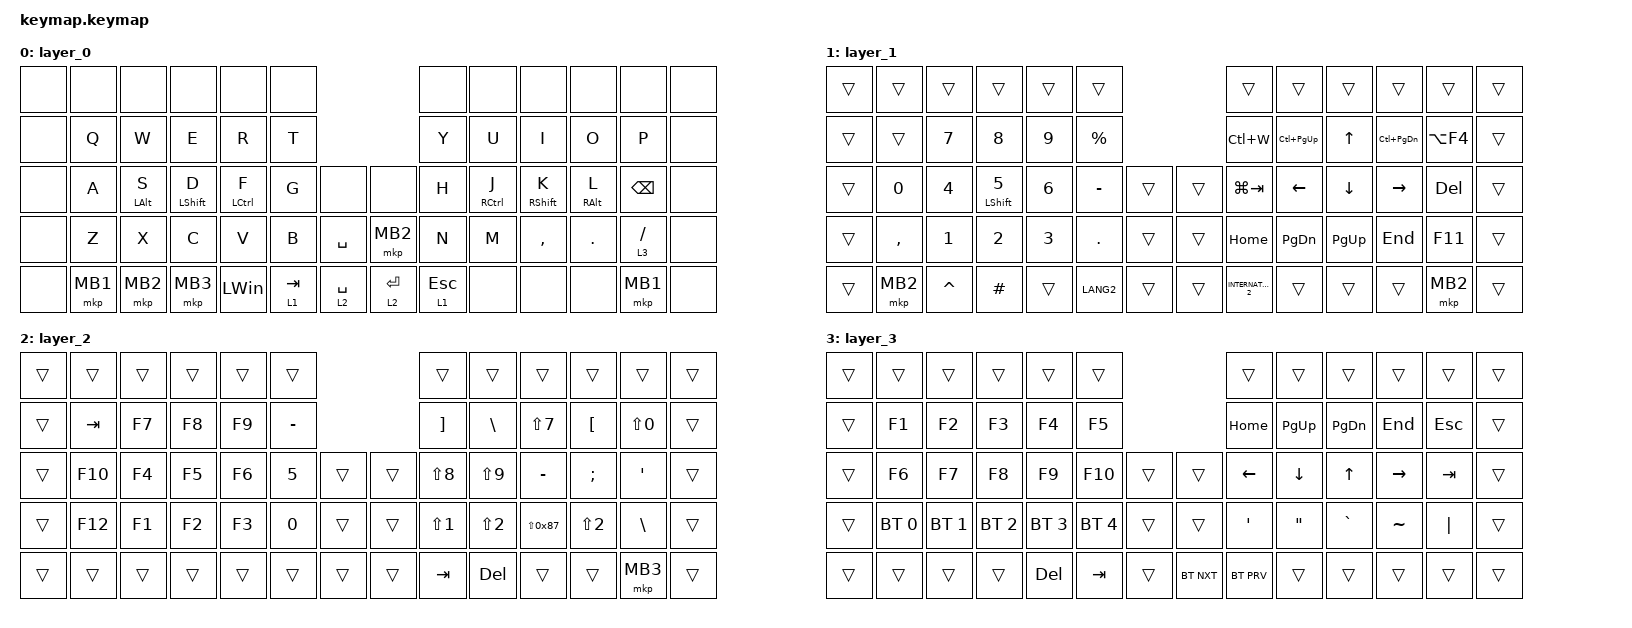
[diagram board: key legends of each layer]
#include <behaviors.dtsi>
#include <dt-bindings/zmk/bt.h>
#include <dt-bindings/zmk/keys.h>
#include <dt-bindings/zmk/pointing.h>

// OS設定を日本語キーボードのまま使用するための変換定義

#define JP_DQUOTE       AT                // "
#define JP_AMPERSAND    CARET             // &
#define JP_QUOTE        AMPERSAND         // '
#define JP_EQUAL        UNDER             // =
#define JP_CARET        EQUAL             // ^
#define JP_YEN          0x89              // ¥
#define JP_PLUS         COLON             // +
#define JP_TILDE        PLUS              // ~
#define JP_PIPE         LS(0x89)          // |
#define JP_AT           LEFT_BRACKET      // @
#define JP_COLON        SINGLE_QUOTE      // :
#define JP_ASTERISK     DOUBLE_QUOTES     // *
#define JP_BACKQUOTE    LEFT_BRACE        // `
#define JP_UNDERSCORE   LS(0x87)          // _
#define JP_LBRACKET     RIGHT_BRACKET     // [
#define JP_RBRACKET     BACKSLASH         // ]
#define JP_LPAREN       ASTERISK          // (
#define JP_RPAREN       LEFT_PARENTHESIS  // )
#define JP_LBRACE       RIGHT_BRACE       // {
#define JP_RBRACE       PIPE              // }
#define JP_KANA         LANGUAGE_1        // かな
#define JP_EISU         LANGUAGE_2        // 英数
#define JP_HANZEN       GRAVE             // 半角/全角

&mt { flavor = "balanced"; };

/ {
    combos {
        compatible = "zmk,combos";

        bt_clear {
            bindings = <&bt BT_CLR>;
            key-positions = <28 29>;
            layers = <2>;
        };
    };

    keymap {
        compatible = "zmk,keymap";

        layer_0 {
            bindings = <
&none  &none     &none           &none             &none         &none                                &none         &none        &none              &none            &none          &none
&none  &kp Q     &kp W           &kp E             &kp R         &kp T                                &kp Y         &kp U        &kp I              &kp O            &kp P          &none
&none  &kp A     &mt LEFT_ALT S  &mt LEFT_SHIFT D  &mt LCTRL F   &kp G      &none        &none        &kp H         &mt RCTRL J  &mt RIGHT_SHIFT K  &mt RIGHT_ALT L  &kp BACKSPACE  &none
&none  &kp Z     &kp X           &kp C             &kp V         &kp B      &kp SPACE    &mkp MB2     &kp N         &kp M        &kp COMMA          &kp DOT          &lt 3 SLASH    &none
&none  &mkp MB1  &mkp MB2        &mkp MB3          &kp LEFT_WIN  &lt 1 TAB  &lt 2 SPACE  &lt 2 ENTER  &lt 1 ESCAPE  &none        &none              &none            &mkp MB1       &none
            >;
        };

        layer_1 {
            bindings = <
&trans  &trans     &trans     &trans             &trans  &trans                       &trans               &trans           &trans          &trans             &trans      &trans
&trans  &trans     &kp N7     &kp N8             &kp N9  &kp PERCENT                  &kp LC(W)            &kp LC(PAGE_UP)  &kp UP_ARROW    &kp LC(PAGE_DOWN)  &kp LA(F4)  &trans
&trans  &kp N0     &kp N4     &mt LEFT_SHIFT N5  &kp N6  &kp MINUS    &trans  &trans  &kp LG(TAB)          &kp LEFT_ARROW   &kp DOWN_ARROW  &kp RIGHT_ARROW    &kp DELETE  &trans
&trans  &kp COMMA  &kp N1     &kp N2             &kp N3  &kp DOT      &trans  &trans  &kp HOME             &kp PAGE_DOWN    &kp PAGE_UP     &kp END            &kp F11     &trans
&trans  &mkp MB2   &kp CARET  &kp HASH           &trans  &kp LANG2    &trans  &trans  &kp INTERNATIONAL_2  &trans           &trans          &trans             &mkp MB2    &trans
            >;
        };

        layer_2 {
            bindings = <
&trans  &trans   &trans  &trans  &trans  &trans                     &trans             &trans            &trans             &trans            &trans         &trans
&trans  &kp TAB  &kp F7  &kp F8  &kp F9  &kp MINUS                  &kp RIGHT_BRACKET  &kp BACKSLASH     &kp LS(N7)         &kp JP_AT         &kp LS(N0)     &trans
&trans  &kp F10  &kp F4  &kp F5  &kp F6  &kp N5     &trans  &trans  &kp LS(N8)         &kp LS(N9)        &kp MINUS          &kp SEMICOLON     &kp JP_COLON   &trans
&trans  &kp F12  &kp F1  &kp F2  &kp F3  &kp N0     &trans  &trans  &kp LS(NUMBER_1)   &kp LS(NUMBER_2)  &kp JP_UNDERSCORE  &kp LS(NUMBER_2)  &kp BACKSLASH  &trans
&trans  &trans   &trans  &trans  &trans  &trans     &trans  &trans  &kp TAB            &kp DEL           &trans             &trans            &mkp MB3       &trans
            >;
        };

        layer_3 {
            bindings = <
&trans  &trans        &trans        &trans        &trans        &trans                            &trans            &trans     &trans         &trans     &trans      &trans
&trans  &kp F1        &kp F2        &kp F3        &kp F4        &kp F5                            &kp HOME          &kp PG_UP  &kp PAGE_DOWN  &kp END    &kp ESCAPE  &trans
&trans  &kp F6        &kp F7        &kp F8        &kp F9        &kp F10       &trans  &trans      &kp LEFT          &kp DOWN   &kp UP_ARROW   &kp RIGHT  &kp TAB     &trans
&trans  &bt BT_SEL 0  &bt BT_SEL 1  &bt BT_SEL 2  &bt BT_SEL 3  &bt BT_SEL 4  &trans  &trans      &kp SINGLE_QUOTE  &kp DQT    &kp GRAVE      &kp TILDE  &kp PIPE    &trans
&trans  &trans        &trans        &trans        &kp DELETE    &kp TAB       &trans  &bt BT_NXT  &bt BT_PRV        &trans     &trans         &trans     &trans      &trans
            >;
        };
    };
};
